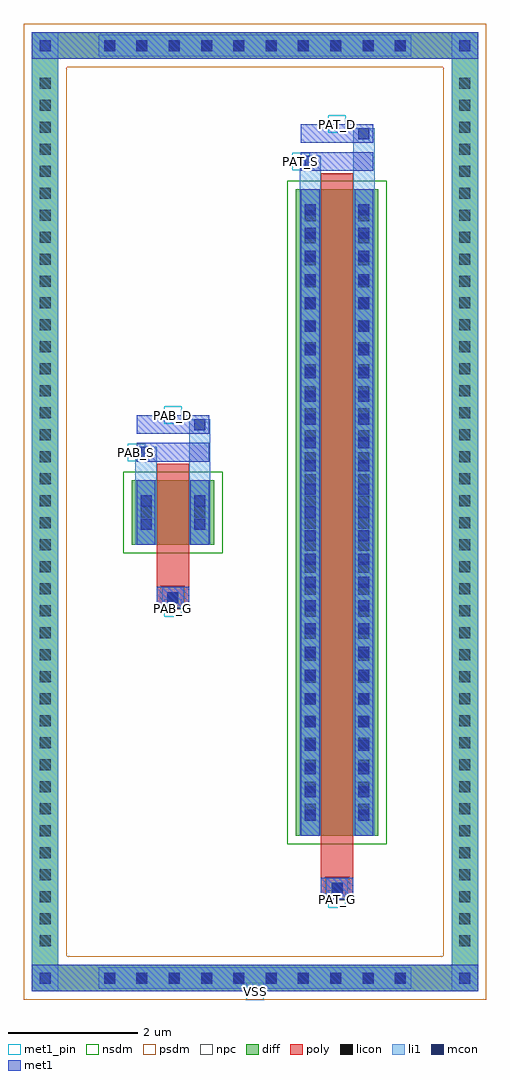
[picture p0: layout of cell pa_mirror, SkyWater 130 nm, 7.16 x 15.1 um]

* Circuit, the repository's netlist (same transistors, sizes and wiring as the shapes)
.subckt pa_mirror PAB_D PAB_G PAB_S PAT_D PAT_G PAT_S VSS
XPAB PAB_D PAB_G PAB_S VSS sky130_fd_pr__nfet_01v8 W=1.0 L=0.5 nf=1 m=1
XPAT PAT_D PAT_G PAT_S VSS sky130_fd_pr__nfet_01v8 W=10.0 L=0.5 nf=1 m=1
.ends pa_mirror

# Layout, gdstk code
import gdstk
lib = gdstk.Library(unit=1e-6, precision=5e-09)
def R(c, l, rs):  # rectangles x0, y0, x1, y1
    for r in rs: c.add(gdstk.rectangle(r[:2], r[2:], *l))
def A(c, l, x, y, w, h, nx, ny, dx, dy):  # array of equal rectangles
    R(c, l, [(x+i*dx, y+j*dy, x+i*dx+w, y+j*dy+h) for i in range(nx) for j in range(ny)])
def P(c, l, *ps):  # polygons
    for p in ps: c.add(gdstk.Polygon(p, *l))
diff = (65, 20)
poly = (66, 20)
licon = (66, 44)
li1 = (67, 20)
mcon = (67, 44)
met1_pin = (68, 16)
met1 = (68, 20)
nsdm = (93, 44)
psdm = (94, 20)
npc = (95, 20)

pa_mirror = lib.new_cell('pa_mirror')
A(pa_mirror, diff, -0.415, -7.405, 0.41, 0.41, 10, 2, 0.5, 14.42)
A(pa_mirror, diff, -1.41, -6.825, 0.41, 0.41, 1, 40, 0, 0.34)
A(pa_mirror, diff, 5.08, -6.825, 0.41, 0.41, 1, 40, 0, 0.34)
R(pa_mirror, diff, [(-0.415,-7.405,4.495,-6.995), (-1.41,-6.825,-1,6.845), (5.08,-6.825,5.49,6.845), (2.67,-5,3.95,5), (0.13,-0.5,1.41,0.5), (-0.415,7.015,4.495,7.425)])
P(pa_mirror, diff, [(5.49,7.425),(-1.41,7.425),(-1.41,-6.995),(-1,-6.995),(-1,7.015),(5.08,7.015),(5.08,-6.995),(-1,-6.995),(-1.41,-6.995),(-1.41,-7.405),(5.49,-7.405)])
R(pa_mirror, poly, [(3.06,-5.98,3.56,-5.65), (3.145,-5.98,3.475,-5.65), (3.06,-5.65,3.56,-5.25), (3.06,-5.25,3.56,5.25), (0.52,-1.48,1.02,-1.15), (0.605,-1.48,0.935,-1.15), (0.52,-1.15,1.02,-0.75), (0.52,-0.75,1.02,0.75)])
A(pa_mirror, licon, -0.295, -7.285, 0.17, 0.17, 10, 2, 0.5, 14.42)
A(pa_mirror, licon, -1.29, -6.705, 0.17, 0.17, 1, 40, 0, 0.34)
A(pa_mirror, licon, 5.2, -6.705, 0.17, 0.17, 1, 40, 0, 0.34)
A(pa_mirror, licon, 2.81, -4.675, 0.17, 0.17, 1, 28, 0, 0.34)
A(pa_mirror, licon, 3.64, -4.675, 0.17, 0.17, 1, 28, 0, 0.34)
R(pa_mirror, licon, [(3.225,-5.9,3.395,-5.73), (0.685,-1.4,0.855,-1.23), (0.27,-0.085,0.44,0.085), (1.1,-0.085,1.27,0.085)])
A(pa_mirror, li1, -0.375, -7.365, 0.33, 0.33, 10, 2, 0.5, 14.42)
A(pa_mirror, li1, -1.37, -6.785, 0.33, 0.33, 1, 40, 0, 0.34)
A(pa_mirror, li1, 5.12, -6.785, 0.33, 0.33, 1, 40, 0, 0.34)
A(pa_mirror, li1, 2.81, -4.765, 0.17, 0.17, 1, 27, 0, 0.36)
A(pa_mirror, li1, 3.64, -4.765, 0.17, 0.17, 1, 27, 0, 0.36)
A(pa_mirror, li1, 2.73, -4.755, 0.33, 0.33, 1, 28, 0, 0.34)
A(pa_mirror, li1, 3.56, -4.755, 0.33, 0.33, 1, 28, 0, 0.34)
R(pa_mirror, li1, [(-1.41,-7.405,-1,-6.995), (5.08,-7.405,5.49,-6.995), (-0.375,-7.365,4.455,-7.035), (-1.29,-7.285,-1.12,-7.115), (-1.29,-7.285,-1.12,-7.115), (5.2,-7.285,5.37,-7.115), (5.2,-7.285,5.37,-7.115), (-1.41,-6.995,-1,7.015), (5.08,-6.995,5.49,7.015), (3.145,-5.98,3.475,-5.65), (2.73,-5,3.06,5), (3.56,-5,3.89,5), (2.81,-4.765,2.98,4.765), (3.64,-4.765,3.81,4.765), (0.605,-1.48,0.935,-1.15), (0.19,-0.5,0.52,0.5), (1.02,-0.5,1.35,0.5), (0.27,-0.265,0.44,-0.095), (0.27,-0.265,0.44,0.265), (1.1,-0.265,1.27,-0.095), (1.1,-0.265,1.27,0.265), (0.19,-0.165,0.52,0.165), (1.02,-0.165,1.35,0.165), (0.27,0.095,0.44,0.265), (1.1,0.095,1.27,0.265), (0.19,0.5,0.52,1.015), (1.02,0.5,1.35,1.445), (0.27,0.845,0.44,1.015), (1.1,1.275,1.27,1.445), (2.73,5,3.06,5.515), (3.56,5,3.89,5.945), (2.81,5.345,2.98,5.515), (3.64,5.775,3.81,5.945), (-1.41,7.015,-1,7.425), (5.08,7.015,5.49,7.425), (-0.375,7.055,4.455,7.385), (-1.29,7.135,-1.12,7.305), (-1.29,7.135,-1.12,7.305), (5.2,7.135,5.37,7.305), (5.2,7.135,5.37,7.305)])
A(pa_mirror, mcon, -0.295, -7.285, 0.17, 0.17, 10, 2, 0.5, 14.42)
A(pa_mirror, mcon, 2.81, -4.765, 0.17, 0.17, 1, 27, 0, 0.36)
A(pa_mirror, mcon, 3.64, -4.765, 0.17, 0.17, 1, 27, 0, 0.36)
R(pa_mirror, mcon, [(-1.29,-7.285,-1.12,-7.115), (5.2,-7.285,5.37,-7.115), (3.225,-5.9,3.395,-5.73), (0.685,-1.4,0.855,-1.23), (0.27,-0.265,0.44,-0.095), (1.1,-0.265,1.27,-0.095), (0.27,0.095,0.44,0.265), (1.1,0.095,1.27,0.265), (0.27,0.845,0.44,1.015), (1.1,1.275,1.27,1.445), (2.81,5.345,2.98,5.515), (3.64,5.775,3.81,5.945), (-1.29,7.135,-1.12,7.305), (5.2,7.135,5.37,7.305)])
R(pa_mirror, met1_pin, [(1.905,-7.54,2.175,-7.27), (3.175,-6.115,3.445,-5.845), (0.635,-1.615,0.905,-1.345), (0.075,0.795,0.345,1.065), (0.635,1.37,0.905,1.64), (2.615,5.295,2.885,5.565), (3.175,5.87,3.445,6.14)])
A(pa_mirror, met1, -0.355, -7.345, 0.29, 0.29, 10, 2, 0.5, 14.42)
A(pa_mirror, met1, 2.75, -4.825, 0.29, 0.29, 1, 27, 0, 0.36)
A(pa_mirror, met1, 3.58, -4.825, 0.29, 0.29, 1, 27, 0, 0.36)
R(pa_mirror, met1, [(-1.41,-7.405,-1,-6.995), (-1.41,-7.405,-1,-6.995), (-1,-7.405,5.08,-6.995), (5.08,-7.405,5.49,-6.995), (5.08,-7.405,5.49,-6.995), (-1.35,-7.345,-1.06,-7.055), (5.14,-7.345,5.43,-7.055), (3.06,-5.98,3.56,-5.65), (3.165,-5.96,3.455,-5.67), (2.75,-5,3.04,5), (3.58,-5,3.87,5), (0.52,-1.48,1.02,-1.15), (0.625,-1.46,0.915,-1.17), (0.21,-0.5,0.5,0.5), (1.04,-0.5,1.33,0.5), (0.21,-0.325,0.5,-0.035), (1.04,-0.325,1.33,-0.035), (0.21,0.035,0.5,0.325), (1.04,0.035,1.33,0.325), (0.21,0.785,0.5,1.075), (0.21,0.785,1.33,1.075), (0.21,1.215,1.33,1.505), (1.04,1.215,1.33,1.505), (2.75,5.285,3.04,5.575), (2.75,5.285,3.87,5.575), (2.75,5.715,3.87,6.005), (3.58,5.715,3.87,6.005), (-1.41,7.015,-1,7.425), (-1.41,7.015,-1,7.425), (-1,7.015,5.08,7.425), (5.08,7.015,5.49,7.425), (5.08,7.015,5.49,7.425), (-1.35,7.075,-1.06,7.365), (5.14,7.075,5.43,7.365)])
R(pa_mirror, nsdm, [(2.54,-5.13,4.08,5.13), (0,-0.63,1.54,0.63)])
P(pa_mirror, psdm, [(5.62,7.555),(-1.54,7.555),(-1.54,-6.865),(-0.87,-6.865),(-0.87,6.885),(4.95,6.885),(4.95,-6.865),(-0.87,-6.865),(-1.54,-6.865),(-1.54,-7.535),(5.62,-7.535)])
R(pa_mirror, npc, [(3.125,-6,3.495,-5.63), (3.125,-6,3.495,-5.63), (0.585,-1.5,0.955,-1.13), (0.585,-1.5,0.955,-1.13)])
pa_mirror.add(gdstk.Label('VSS', (2.04,-7.405), layer=68, texttype=5))
pa_mirror.add(gdstk.Label('PAT_G', (3.31,-5.98), layer=68, texttype=5))
pa_mirror.add(gdstk.Label('PAT_S', (2.75,5.43), layer=68, texttype=5))
pa_mirror.add(gdstk.Label('PAT_D', (3.31,6.005), layer=68, texttype=5))
pa_mirror.add(gdstk.Label('PAB_G', (0.77,-1.48), layer=68, texttype=5))
pa_mirror.add(gdstk.Label('PAB_S', (0.21,0.93), layer=68, texttype=5))
pa_mirror.add(gdstk.Label('PAB_D', (0.77,1.505), layer=68, texttype=5))

lib.write_gds('pa_mirror.gds')
